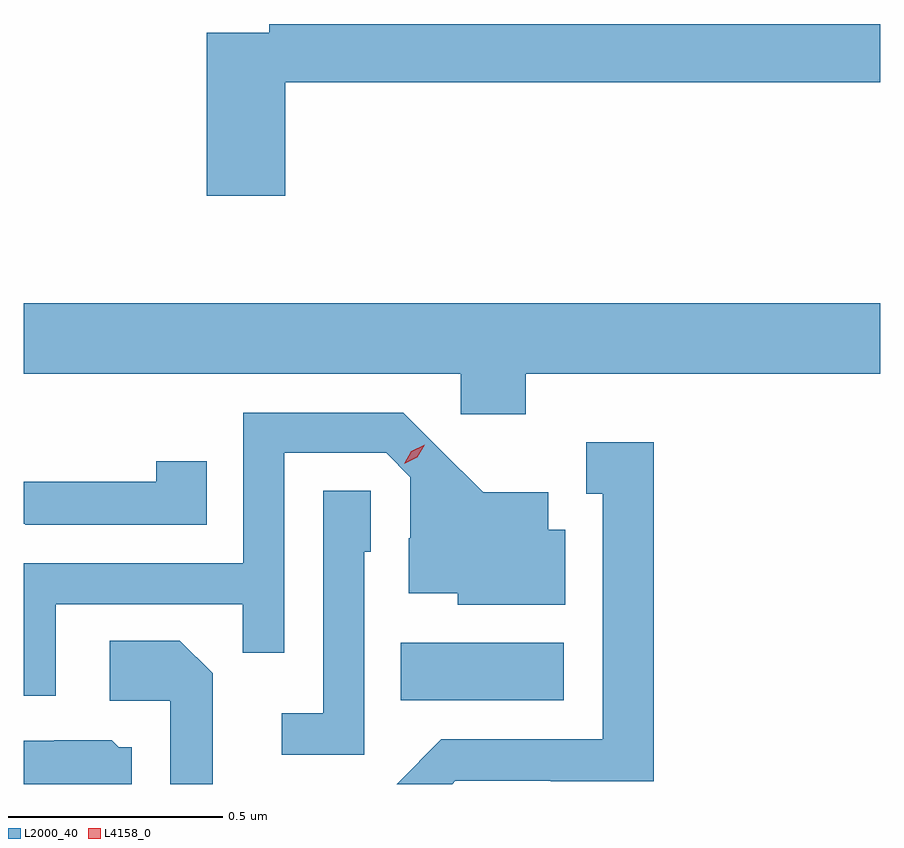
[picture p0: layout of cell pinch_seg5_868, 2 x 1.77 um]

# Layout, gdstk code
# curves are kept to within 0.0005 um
import gdstk
lib = gdstk.Library(unit=1e-6, precision=1e-09)
def R(c, l, rs):  # rectangles x0, y0, x1, y1
    for r in rs: c.add(gdstk.rectangle(r[:2], r[2:], *l))
def P(c, l, *ps):  # polygons
    for p in ps: c.add(gdstk.Polygon(p, *l))
L2000_40 = (2000, 40)
L4158_0 = (4158, 0)

pinch_seg5_868 = lib.new_cell('pinch_seg5_868')
R(pinch_seg5_868, L2000_40, [(793.156,889.298,793.537,889.432)])
P(pinch_seg5_868, L2000_40, [(792.887,890.74),(794.276,890.74),(794.276,890.876),(792.85,890.876),(792.85,890.856),(792.704,890.856),(792.704,890.475),(792.887,890.475)],
  [(793.448,890.06),(794.276,890.06),(794.276,890.224),(792.276,890.224),(792.276,890.06),(793.296,890.06),(793.296,889.965),(793.448,889.965)],
  [(792.351,889.521),(792.787,889.521),(792.787,889.408),(792.885,889.408),(792.885,889.875),(793.122,889.875),(793.179,889.818),(793.179,889.676),(793.175,889.676),(793.175,889.547),(793.29,889.547),(793.29,889.52),(793.54,889.52),(793.54,889.696),(793.501,889.696),(793.501,889.783),(793.349,889.783),(793.162,889.968),(792.789,889.968),(792.789,889.617),(792.276,889.617),(792.276,889.308),(792.351,889.308)],
  [(793.284,889.11),(793.506,889.11),(793.506,889.109),(793.747,889.109),(793.747,889.9),(793.589,889.9),(793.589,889.779),(793.628,889.779),(793.628,889.206),(793.251,889.206),(793.147,889.102),(793.276,889.102)],
  [(792.704,889.855),(792.586,889.855),(792.586,889.808),(792.276,889.808),(792.276,889.71),(792.28,889.71),(792.28,889.707),(792.704,889.707)],
  [(793.071,889.644),(793.086,889.644),(793.086,889.787),(792.975,889.787),(792.975,889.267),(792.879,889.267),(792.879,889.17),(793.071,889.17)],
  [(792.717,889.36),(792.641,889.436),(792.477,889.436),(792.477,889.296),(792.618,889.296),(792.618,889.102),(792.717,889.102)],
  [(792.529,889.188),(792.498,889.188),(792.482,889.204),(792.348,889.204),(792.348,889.203),(792.276,889.203),(792.276,889.102),(792.529,889.102)])
P(pinch_seg5_868, L4158_0, [(793.164,889.85),(793.164,889.85),(793.181,889.879),(793.212,889.894),(793.212,889.894),(793.212,889.894),(793.195,889.865),(793.164,889.85)])

lib.write_gds('pinch_seg5_868.gds')
